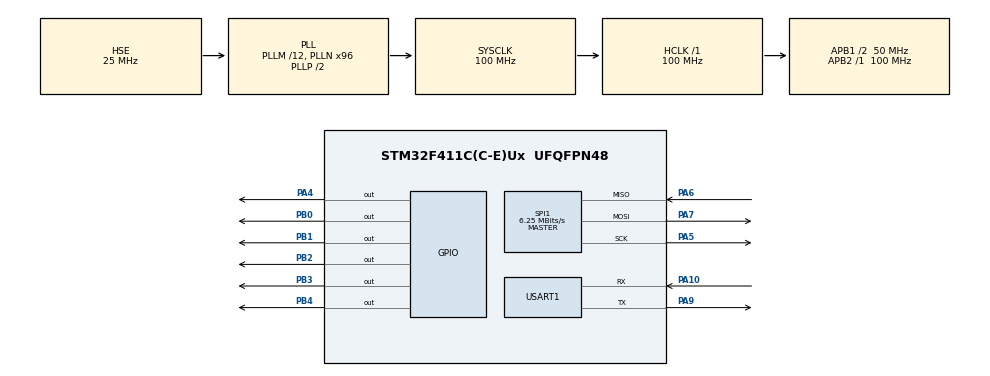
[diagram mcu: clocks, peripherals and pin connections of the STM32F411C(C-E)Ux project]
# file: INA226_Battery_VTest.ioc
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Mcu.Family=STM32F4
Mcu.Name=STM32F411C(C-E)Ux
Mcu.Package=UFQFPN48
NVIC.PriorityGroup=NVIC_PRIORITYGROUP_4
PA10.Mode=Asynchronous
PA10.Signal=USART1_RX
PA13.Mode=Serial_Wire
PA13.Signal=SYS_JTMS-SWDIO
PA14.Mode=Serial_Wire
PA14.Signal=SYS_JTCK-SWCLK
PA4.Signal=GPIO_Output
PA5.Mode=Full_Duplex_Master
PA5.Signal=SPI1_SCK
PA6.Mode=Full_Duplex_Master
PA6.Signal=SPI1_MISO
PA7.Mode=Full_Duplex_Master
PA7.Signal=SPI1_MOSI
PA9.Mode=Asynchronous
PA9.Signal=USART1_TX
PB0.Signal=GPIO_Output
PB1.Signal=GPIO_Output
PB2.Signal=GPIO_Output
PB3.GPIO_Speed=GPIO_SPEED_FREQ_VERY_HIGH
PB3.Signal=GPIO_Output
PB4.GPIO_Speed=GPIO_SPEED_FREQ_VERY_HIGH
PB4.Signal=GPIO_Output
PH0\ -\ OSC_IN.Mode=HSE-External-Oscillator
PH0\ -\ OSC_IN.Signal=RCC_OSC_IN
PH1\ -\ OSC_OUT.Mode=HSE-External-Oscillator
PH1\ -\ OSC_OUT.Signal=RCC_OSC_OUT
ProjectManager.HeapSize=0x200
ProjectManager.StackSize=0x400
ProjectManager.TargetToolchain=MDK-ARM V5.32
RCC.48MHZClocksFreq_Value=50000000
RCC.AHBFreq_Value=100000000
RCC.APB1CLKDivider=RCC_HCLK_DIV2
RCC.APB1Freq_Value=50000000
RCC.APB1TimFreq_Value=100000000
RCC.APB2Freq_Value=100000000
RCC.APB2TimFreq_Value=100000000
RCC.CortexFreq_Value=100000000
RCC.HCLKFreq_Value=100000000
RCC.HSE_VALUE=25000000
RCC.HSI_VALUE=16000000
RCC.LSE_VALUE=32768
RCC.PLLM=12
RCC.PLLN=96
RCC.PLLSourceVirtual=RCC_PLLSOURCE_HSE
RCC.SYSCLKFreq_VALUE=100000000
RCC.SYSCLKSource=RCC_SYSCLKSOURCE_PLLCLK
RCC.VCOOutputFreq_Value=200000000
SPI1.BaudRatePrescaler=SPI_BAUDRATEPRESCALER_16
SPI1.CalculateBaudRate=6.25 MBits/s
SPI1.Direction=SPI_DIRECTION_2LINES
SPI1.Mode=SPI_MODE_MASTER
SPI1.VirtualType=VM_MASTER
USART1.VirtualMode=VM_ASYNC
board=custom

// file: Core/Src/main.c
/* USER CODE BEGIN Header */
/**
  ******************************************************************************
  * @file           : main.c
  * @brief          : Main program body (Optimized RFID with OLED Display & Debounce)
  ******************************************************************************
  * @attention
  *
  * Copyright (c) 2026 STMicroelectronics.
  * All rights reserved.
  *
  * This software is licensed under terms that can be found in the LICENSE file
  * in the root directory of this software component.
  * If no LICENSE file comes with this software, it is provided AS-IS.
  *
  ******************************************************************************
  */
/* USER CODE END Header */

#include "main.h"
#include "spi.h"
#include "usart.h"
#include "gpio.h"

/* USER CODE BEGIN Includes */
#include "stm32f4xx_hal.h"
#include <stdio.h>
#include <string.h>
#include "oled.h"
#include "INA226.h"
#include "delay.h"
#include "rfid.h"

// 【修复点 1】兼容 Keil V5 (ARMCC) 的 bool 类型
// 如果编译器不支持 stdbool.h，则手动定义
#if !defined(__cplusplus) && !defined(__STDC_VERSION__) || (__STDC_VERSION__ < 199901L)
  #ifndef bool
    #define bool uint8_t
    #define true 1
    #define false 0
  #endif
#else
  #include <stdbool.h>
#endif

/* USER CODE END Includes */

/* USER CODE BEGIN PV */
INA226_Data_t ina_data;
extern SPI_HandleTypeDef hspi1;

// 用于去重逻辑的全局变量
uint8_t last_uid[5] = {0};      // 存储上一次的 UID
uint8_t current_uid[5] = {0};   // 存储当前的 UID
bool is_card_present = false;   // 标记当前是否有卡
/* USER CODE END PV */

void SystemClock_Config(void);

/* USER CODE BEGIN PFP */
// 辅助函数：比较两个 UID 是否相同
bool CompareUID(uint8_t *uid1, uint8_t *uid2) {
    for (int i = 0; i < 4; i++) {
        if (uid1[i] != uid2[i]) return false;
    }
    return true;
}

// 【修复点 2】修复 OLED_ShowString 参数类型警告
// 将 const char* 强制转换为 u8* 以匹配你的 OLED 库定义
void UpdateOLED_Status(const char* line1, const char* line2, const char* line3) {
    OLED_Clear();
    if(line1) OLED_ShowString(0, 0, (u8*)line1, 16, 1);
    if(line2) OLED_ShowString(0, 16, (u8*)line2, 16, 1);
    if(line3) OLED_ShowString(0, 32, (u8*)line3, 16, 1);
}
/* USER CODE END PFP */

int main(void)
{

  /* MCU Configuration--------------------------------------------------------*/
  HAL_Init();

  /* Configure the system clock */
  SystemClock_Config();

  /* USER CODE BEGIN SysInit */
  delay_init();
  /* USER CODE END SysInit */

  /* Initialize all configured peripherals */
  MX_GPIO_Init();
  MX_USART1_UART_Init();
  MX_SPI1_Init();

  /* USER CODE BEGIN 2 */

  // --- 1. OLED 初始化 ---
  OLED_Init();
  OLED_Clear();
  OLED_ShowString(0, 0, (u8*)"System Starting...", 16, 1);

  // --- 2. INA226 初始化 ---
  INA226_IO_Init();
  INA226_Searching();

  char ina_status_str[20];
  if (INA226_Init() == INA226_OK) {
      printf("INA226 Init Success!\r\n");
      sprintf(ina_status_str, "INA226: OK");
  } else {
      printf("INA226 Init Failed!\r\n");
      sprintf(ina_status_str, "INA226: FAIL");
  }

  // --- 3. RFID 初始化与诊断 ---
  RFID_Init();
  uint8_t version = RFID_ReadReg(0x37); // VersionReg address
  printf("RC522 Version Register: 0x%02X\r\n", version);

  char rfid_status_str[20];
  // 支持 0x91, 0x92 (NXP) 和 0x82 (Clone)
  if (version == 0x91 || version == 0x92 || version == 0x82) {
      printf("[SUCCESS] RFID Comm OK! Ver: 0x%02X\r\n", version);
      sprintf(rfid_status_str, "RFID: OK (0x%02X)", version);
  } else {
      printf("[ERROR] RFID Comm Failed! Got: 0x%02X\r\n", version);
      sprintf(rfid_status_str, "RFID: FAIL (0x%02X)", version);
      // 如果 RFID 失败，显示错误并卡死，方便调试
      UpdateOLED_Status(rfid_status_str, "Check Wiring!", NULL);
      while(1);
  }

  // 显示初始状态页
  UpdateOLED_Status(rfid_status_str, ina_status_str, "Waiting for Card...");
  HAL_Delay(1000); // 让用户看清初始化结果

  // 清空缓冲区，准备进入主循环
  memset(last_uid, 0, 5);

  /* USER CODE END 2 */

  /* Infinite loop */
  /* USER CODE BEGIN WHILE */
  while (1)
  {
    uint8_t status;
    uint8_t tagType[2];

    // 1. 尝试寻卡
    status = RFID_Request(PICC_REQIDL, tagType);

    if (status == MI_OK) {
        // 2. 防冲突获取 UID
        status = RFID_Anticoll(current_uid);

        if (status == MI_OK) {
            // 成功读取到 UID

            // 检查是否是同一张卡 (去重)
            if (!is_card_present || !CompareUID(last_uid, current_uid)) {
                // 情况 A: 新卡片插入 或 卡片更换

                is_card_present = true;

                // 复制当前 UID 到 last_uid
                memcpy(last_uid, current_uid, 4);

                // --- 硬件反馈 ---
                HAL_GPIO_TogglePin(GPIOA, GPIO_PIN_5); // 翻转 LED

                // --- 串口打印 ---
                printf("\n[NEW CARD] Detected!\r\n");
                printf("UID: %02X %02X %02X %02X\r\n", current_uid[0], current_uid[1], current_uid[2], current_uid[3]);

                // --- OLED 显示更新 ---
                char uid_buf[20];
                sprintf(uid_buf, "%02X %02X %02X %02X", current_uid[0], current_uid[1], current_uid[2], current_uid[3]);

                OLED_Clear(); // 清屏以防残留
                OLED_ShowString(0, 0, (u8*)"Card Detected!", 16, 1);
                OLED_ShowString(0, 16, (u8*)"UID:", 16, 1);
                // 【修复点 3】强制转换 uid_buf 为 u8*
                OLED_ShowString(48, 16, (u8*)uid_buf, 16, 1);
            } else {
                // 情况 B: 同一张卡持续存在，不做任何操作 (防止刷屏)
            }
        } else {
            // 防冲突失败，可能是干扰或卡片移开过快
            is_card_present = false;
        }
    } else {
        // 未检测到卡片
        if (is_card_present) {
            // 情况 C: 卡片被移除
            is_card_present = false;
            printf("[INFO] Card Removed.\r\n");

            // 恢复 OLED 到等待界面
            OLED_Clear();
            // 【修复点 4】强制转换状态字符串
            OLED_ShowString(0, 0, (u8*)rfid_status_str, 12, 1);
            OLED_ShowString(0, 16, (u8*)ina_status_str, 12, 1);
            OLED_ShowString(0, 32, (u8*)"Waiting...", 16, 1);
        }
    }

    // 适当延时，降低轮询频率
    HAL_Delay(100);
    /* USER CODE END WHILE */
  }
  /* USER CODE END 3 */
}

void SystemClock_Config(void)
{
  RCC_OscInitTypeDef RCC_OscInitStruct = {0};
  RCC_ClkInitTypeDef RCC_ClkInitStruct = {0};

  /** Configure the main internal regulator output voltage
  */
  __HAL_RCC_PWR_CLK_ENABLE();
  __HAL_PWR_VOLTAGESCALING_CONFIG(PWR_REGULATOR_VOLTAGE_SCALE1);

  /** Initializes the RCC Oscillators according to the specified parameters
  * in the RCC_OscInitTypeDef structure.
  */
  RCC_OscInitStruct.OscillatorType = RCC_OSCILLATORTYPE_HSE;
  RCC_OscInitStruct.HSEState = RCC_HSE_ON;
  RCC_OscInitStruct.PLL.PLLState = RCC_PLL_ON;
  RCC_OscInitStruct.PLL.PLLSource = RCC_PLLSOURCE_HSE;
  RCC_OscInitStruct.PLL.PLLM = 12;
  RCC_OscInitStruct.PLL.PLLN = 96;
  RCC_OscInitStruct.PLL.PLLP = RCC_PLLP_DIV2;
  RCC_OscInitStruct.PLL.PLLQ = 4;
  if (HAL_RCC_OscConfig(&RCC_OscInitStruct) != HAL_OK)
  {
    Error_Handler();
  }

  /** Initializes the CPU, AHB and APB buses clocks
  */
  RCC_ClkInitStruct.ClockType = RCC_CLOCKTYPE_HCLK|RCC_CLOCKTYPE_SYSCLK
                              |RCC_CLOCKTYPE_PCLK1|RCC_CLOCKTYPE_PCLK2;
  RCC_ClkInitStruct.SYSCLKSource = RCC_SYSCLKSOURCE_PLLCLK;
  RCC_ClkInitStruct.AHBCLKDivider = RCC_SYSCLK_DIV1;
  RCC_ClkInitStruct.APB1CLKDivider = RCC_HCLK_DIV2;
  RCC_ClkInitStruct.APB2CLKDivider = RCC_HCLK_DIV1;

  if (HAL_RCC_ClockConfig(&RCC_ClkInitStruct, FLASH_LATENCY_3) != HAL_OK)
  {
    Error_Handler();
  }
}

void Error_Handler(void)
{
  __disable_irq();
  while (1)
  {
  }
}
